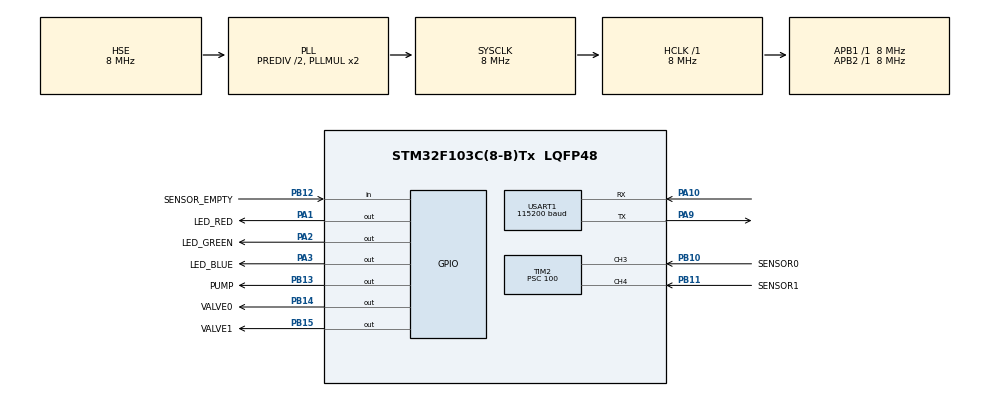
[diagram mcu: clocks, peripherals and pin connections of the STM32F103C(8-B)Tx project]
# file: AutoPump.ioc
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IWDG.Reload=1024
Mcu.Family=STM32F1
Mcu.Name=STM32F103C(8-B)Tx
Mcu.Package=LQFP48
NVIC.PriorityGroup=NVIC_PRIORITYGROUP_4
NVIC.TIM2_IRQn=true\:0\:0\:false\:false\:true\:true\:true\:true
PA1.GPIO_Label=LED_RED
PA1.GPIO_ModeDefaultOutputPP=GPIO_MODE_OUTPUT_OD
PA1.GPIO_PuPd=GPIO_NOPULL
PA1.PinState=GPIO_PIN_SET
PA1.Signal=GPIO_Output
PA10.Mode=Asynchronous
PA10.Signal=USART1_RX
PA13.Mode=Serial_Wire
PA13.Signal=SYS_JTMS-SWDIO
PA14.Mode=Serial_Wire
PA14.Signal=SYS_JTCK-SWCLK
PA2.GPIO_Label=LED_GREEN
PA2.GPIO_ModeDefaultOutputPP=GPIO_MODE_OUTPUT_OD
PA2.GPIO_PuPd=GPIO_NOPULL
PA2.PinState=GPIO_PIN_SET
PA2.Signal=GPIO_Output
PA3.GPIO_Label=LED_BLUE
PA3.GPIO_ModeDefaultOutputPP=GPIO_MODE_OUTPUT_OD
PA3.GPIO_PuPd=GPIO_NOPULL
PA3.PinState=GPIO_PIN_SET
PA3.Signal=GPIO_Output
PA9.Mode=Asynchronous
PA9.Signal=USART1_TX
PB10.GPIO_Label=SENSOR0
PB10.GPIO_PuPd=GPIO_PULLUP
PB10.Signal=S_TIM2_CH3
PB11.GPIO_Label=SENSOR1
PB11.GPIO_PuPd=GPIO_PULLUP
PB11.Signal=S_TIM2_CH4
PB12.GPIO_Label=SENSOR_EMPTY
PB12.GPIO_PuPd=GPIO_PULLUP
PB12.Signal=GPIO_Input
PB13.GPIO_Label=PUMP
PB13.GPIO_PuPd=GPIO_PULLUP
PB13.PinState=GPIO_PIN_RESET
PB13.Signal=GPIO_Output
PB14.GPIO_Label=VALVE0
PB14.GPIO_PuPd=GPIO_PULLUP
PB14.PinState=GPIO_PIN_RESET
PB14.Signal=GPIO_Output
PB15.GPIO_Label=VALVE1
PB15.GPIO_PuPd=GPIO_PULLUP
PB15.PinState=GPIO_PIN_RESET
PB15.Signal=GPIO_Output
PC14-OSC32_IN.Mode=LSE-External-Oscillator
PC14-OSC32_IN.Signal=RCC_OSC32_IN
PC15-OSC32_OUT.Mode=LSE-External-Oscillator
PC15-OSC32_OUT.Signal=RCC_OSC32_OUT
PD0-OSC_IN.Mode=HSE-External-Oscillator
PD0-OSC_IN.Signal=RCC_OSC_IN
PD1-OSC_OUT.Mode=HSE-External-Oscillator
PD1-OSC_OUT.Signal=RCC_OSC_OUT
ProjectManager.HeapSize=0x200
ProjectManager.StackSize=0x400
ProjectManager.TargetToolchain=MDK-ARM V5.32
RCC.AHBFreq_Value=8000000
RCC.APB1Freq_Value=8000000
RCC.APB1TimFreq_Value=8000000
RCC.APB2Freq_Value=8000000
RCC.APB2TimFreq_Value=8000000
RCC.HCLKFreq_Value=8000000
RCC.HSEDivPLL=RCC_HSE_PREDIV_DIV2
RCC.PLLSourceVirtual=RCC_PLLSOURCE_HSE
RCC.SYSCLKFreq_VALUE=8000000
RCC.SYSCLKSource=RCC_SYSCLKSOURCE_PLLCLK
RCC.USBFreq_Value=8000000
SH.S_TIM2_CH3.0=TIM2_CH3,Input_Capture3_from_TI3
SH.S_TIM2_CH4.0=TIM2_CH4,Input_Capture4_from_TI4
TIM2.Channel-Input_Capture3_from_TI3=TIM_CHANNEL_3
TIM2.Channel-Input_Capture4_from_TI4=TIM_CHANNEL_4
TIM2.Prescaler=100
USART1.BaudRate=115200
USART1.VirtualMode=VM_ASYNC
VP_IWDG_VS_IWDG.Mode=IWDG_Activate
VP_TIM2_VS_ClockSourceINT.Mode=Internal
board=custom

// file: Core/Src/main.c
/* USER CODE BEGIN Header */
/**
  ******************************************************************************
  * @file           : main.c
  * @brief          : Main program body
  ******************************************************************************
  * @attention
  *
  * Copyright (c) 2025 STMicroelectronics.
  * All rights reserved.
  *
  * This software is licensed under terms that can be found in the LICENSE file
  * in the root directory of this software component.
  * If no LICENSE file comes with this software, it is provided AS-IS.
  *
  ******************************************************************************
  */
/* USER CODE END Header */
#include "main.h"

/* USER CODE BEGIN Includes */
#include <stdio.h>
#include <stdbool.h>
#include <string.h>
#include <math.h>
/* USER CODE END Includes */

/* USER CODE BEGIN PTD */

typedef struct {
  uint32_t startTick;
  uint32_t targetTick;
} TimerContext;

typedef struct {
  uint32_t upPeriodMs;
  uint32_t downPeriodMs;
  double threshould;
  uint32_t prevTick;
  double accumulateValue;
  int currValue;
} FilterContext;

typedef struct {
  int sensorEmptyLevel;
  SensorLevel sensor0Level;
  SensorLevel sensor1Level;
  bool isTankEmpty;
  bool isLedRedOn;
  bool isLedGreenOn;
  bool isValve0On;
  bool isValve1On;
  bool isPumpOn;
  bool isPumpOnTimeout;
} RuntimeContext;

/* USER CODE END PTD */

/* USER CODE BEGIN PD */

#define VERSION_STR                   "1.0.3"
#define POWER_UP_DELAY                (2000)
#define VALVE_ON_LEVEL                SensorLevel0
#define VALVE_OFF_LEVEL               SensorLevel3
#define PUMP_ON_TIMEOUT_MS            (1000 * 300)
#define TANK_EMPTY_BLINK_MS           (500)
#define ERROR_BLINK_MS                (200)
#define FILTER_UP_PERIOD_MS           (200)
#define FILTER_DOWN_PERIOD_MS         (1000)
#define TANK_EMPYT_FILTER_PERIOD_MS   (5000)
#define FILTER_THRESHOULD             (0.15)

/* USER CODE END PD */

IWDG_HandleTypeDef hiwdg;

TIM_HandleTypeDef htim2;

UART_HandleTypeDef huart1;

/* USER CODE BEGIN PV */

volatile uint16_t sensor0Curr = 0;
volatile uint16_t sensor0Prev = 0;
volatile uint16_t sensor0Value = 0;
FilterContext sensor0Filter;
volatile SensorLevel sensor0Level = 0;

volatile uint16_t sensor1Curr = 0;
volatile uint16_t sensor1Prev = 0;
volatile uint16_t sensor1Value = 0;
FilterContext sensor1Filter;
volatile SensorLevel sensor1Level = 0;

FilterContext sensorEmptyFilter;

volatile RuntimeContext rtCtx;

/* USER CODE END PV */

void SystemClock_Config(void);
static void MX_GPIO_Init(void);
static void MX_IWDG_Init(void);
static void MX_USART1_UART_Init(void);
static void MX_TIM2_Init(void);

/* USER CODE BEGIN 0 */

/**
  * @brief  Retargets the C library printf function to the USART.
  * @param  None
  * @retval None
  */
int __io_putchar(int ch)
{
  HAL_UART_Transmit(&huart1, (uint8_t *)&ch, 1, 0xFFFF);
  return ch;
}
int fputc(int ch, FILE *f)
{
  HAL_UART_Transmit(&huart1, (uint8_t *)&ch, 1, 0xFFFF);
  return ch;
}

void initCycleTime(TimerContext* context, uint32_t cycleTimeMs) {
  context->startTick = HAL_GetTick();
  context->targetTick = cycleTimeMs;
}

bool isOnCycleTime(TimerContext* context) {
  uint32_t currTick = HAL_GetTick();
  uint32_t interval = currTick - context->startTick;
  if (interval > context->targetTick) {
    uint32_t tickShift = ((interval / context->targetTick) > 1) ? 0 : (interval % context->targetTick);
    context->startTick = currTick - tickShift;
    return true;
  }
  return false;
}

void initAfterTime(TimerContext* context, uint32_t timeMs) {
  context->startTick = HAL_GetTick();
  context->targetTick = timeMs;
}

bool isAfterTime(TimerContext* context) {
  uint32_t currTick = HAL_GetTick();
  uint32_t interval = currTick - context->startTick;
  return interval > context->targetTick;
}

void initSensorFilter(FilterContext* context, uint32_t upPeriodMs, uint32_t downPeriodMs, double threshould) {
  context->upPeriodMs = upPeriodMs;
  context->downPeriodMs = downPeriodMs;
  context->threshould = threshould;
  context->prevTick = HAL_GetTick();
  context->accumulateValue = 0;
  context->currValue = 0;
}

int sensorFilter(FilterContext* context, int value) {
  uint32_t currTick = HAL_GetTick();

  double interval = currTick - context->prevTick;
  double period = (value >= context->accumulateValue) ? context->upPeriodMs : context->downPeriodMs;
  double step = (interval < period) ? (interval / period) : 1.0;
  context->accumulateValue = (context->accumulateValue * (1.0 - step)) + (value * step);

  int currValue = (int) context->accumulateValue;
  if (fabs(currValue - context->accumulateValue) > context->threshould) {
    currValue += (currValue >= 0) ? 1 : -1;
  }

  context->prevTick = currTick;
  context->currValue = currValue;

  return currValue;
}

#define ledOn(color)    HAL_GPIO_WritePin(LED_##color##_GPIO_Port, LED_##color##_Pin, GPIO_PIN_RESET);
#define ledOff(color)   HAL_GPIO_WritePin(LED_##color##_GPIO_Port, LED_##color##_Pin, GPIO_PIN_SET);
#define pumpOn()        HAL_GPIO_WritePin(PUMP_GPIO_Port, PUMP_Pin, GPIO_PIN_SET);
#define pumpOff()       HAL_GPIO_WritePin(PUMP_GPIO_Port, PUMP_Pin, GPIO_PIN_RESET);
#define valve0On()      HAL_GPIO_WritePin(VALVE0_GPIO_Port, VALVE0_Pin, GPIO_PIN_SET);
#define valve0Off()     HAL_GPIO_WritePin(VALVE0_GPIO_Port, VALVE0_Pin, GPIO_PIN_RESET);
#define valve1On()      HAL_GPIO_WritePin(VALVE1_GPIO_Port, VALVE1_Pin, GPIO_PIN_SET);
#define valve1Off()     HAL_GPIO_WritePin(VALVE1_GPIO_Port, VALVE1_Pin, GPIO_PIN_RESET);

bool isSensorEmpty() {
  GPIO_PinState state = HAL_GPIO_ReadPin(SENSOR_EMPTY_GPIO_Port, SENSOR_EMPTY_Pin);
  return state == GPIO_PIN_SET;
}

SensorLevel toSensorLevel(uint32_t sensorVal) {
  if ((sensorVal >= 2800) && (sensorVal < 6000)) {
    // 4000
    return SensorLevel0;
  } else if ((sensorVal >= 1200) && (sensorVal < 2800)) {
    // 1600
    return SensorLevel1;
  } else if ((sensorVal >= 600) && (sensorVal < 1200)) {
    // 800
    return SensorLevel2;
  } else if ((sensorVal >= 300) && (sensorVal < 600)) {
    // 400
    return SensorLevel3;
  } else if ((sensorVal >= 100) && (sensorVal < 300)) {
    // 200
    return SensorLevel4;
  }
  return SensorLevelInvalid;
}

void HAL_TIM_IC_CaptureCallback(TIM_HandleTypeDef *htim) {
  if (htim == &htim2) {
    if (htim->Channel == HAL_TIM_ACTIVE_CHANNEL_3) {
      sensor0Curr = htim->Instance->CCR3;
      if (sensor0Curr != sensor0Prev) {
        sensor0Value = sensor0Curr - sensor0Prev;
        SensorLevel level = toSensorLevel(sensor0Value);
        sensor0Level = sensorFilter(&sensor0Filter, level);
      }
      sensor0Prev = sensor0Curr;
    } else if (htim->Channel == HAL_TIM_ACTIVE_CHANNEL_4) {
      sensor1Curr = htim->Instance->CCR4;
      if (sensor1Curr != sensor1Prev) {
        sensor1Value = sensor1Curr - sensor1Prev;
        SensorLevel level = toSensorLevel(sensor1Value);
        sensor1Level = sensorFilter(&sensor1Filter, level);
      }
      sensor1Prev = sensor1Curr;
    }
  }
}

void execCtrl() {
  if (rtCtx.isLedRedOn) {
    ledOn(RED);
  } else {
    ledOff(RED);
  }
  if (rtCtx.isLedGreenOn) {
    ledOn(GREEN);
  } else {
    ledOff(GREEN);
  }
  if (rtCtx.isValve0On) {
    valve0On();
  } else {
    valve0Off();
  }
  if (rtCtx.isValve1On) {
    valve1On();
  } else {
    valve1Off();
  }
  if (rtCtx.isPumpOn) {
    pumpOn();
  } else {
    pumpOff();
  }
}

void logStatus() {
  LOG("S0[%u] S1[%u] SE[%u] | V0[%u] V1[%u] Pump[%u] | R[%u] G[%u] ", rtCtx.sensor0Level, rtCtx.sensor1Level, rtCtx.sensorEmptyLevel, rtCtx.isValve0On, rtCtx.isValve1On, rtCtx.isPumpOn, rtCtx.isLedRedOn, rtCtx.isLedGreenOn);
}

/* USER CODE END 0 */

int main(void)
{

  /* USER CODE BEGIN 1 */
  initSensorFilter(&sensor0Filter, FILTER_UP_PERIOD_MS, FILTER_DOWN_PERIOD_MS, FILTER_THRESHOULD);
  initSensorFilter(&sensor1Filter, FILTER_UP_PERIOD_MS, FILTER_DOWN_PERIOD_MS, FILTER_THRESHOULD);
  initSensorFilter(&sensorEmptyFilter, TANK_EMPYT_FILTER_PERIOD_MS, TANK_EMPYT_FILTER_PERIOD_MS, FILTER_THRESHOULD);
  /* USER CODE END 1 */

  /* MCU Configuration--------------------------------------------------------*/

  /* Reset of all peripherals, Initializes the Flash interface and the Systick. */
  HAL_Init();

  /* Configure the system clock */
  SystemClock_Config();

  /* Initialize all configured peripherals */
  MX_GPIO_Init();
  MX_IWDG_Init();
  MX_USART1_UART_Init();
  MX_TIM2_Init();
  /* USER CODE BEGIN 2 */

  //HAL_TIM_Base_Start_IT(&htim2);
  HAL_TIM_IC_Start_IT(&htim2, TIM_CHANNEL_3);
  HAL_TIM_IC_Start_IT(&htim2, TIM_CHANNEL_4);

  // Init log cycle before power up delay, so log will be print at first main loop
  TimerContext logCycle;
  initCycleTime(&logCycle, 500);

  LOG("AutoPump v%s initialized!", VERSION_STR);

  // Power up delay, for sensor value to be stablized
  LOG("Power up delay start...");
  ledOn(BLUE);
  TimerContext powerUpDelay;
  initAfterTime(&powerUpDelay, POWER_UP_DELAY);
  while (!isAfterTime(&powerUpDelay)) {
    sensorFilter(&sensorEmptyFilter, isSensorEmpty() ? 1 : 0);
    HAL_IWDG_Refresh(&hiwdg);
  }
  ledOff(BLUE);
  LOG("Power up delay end");

  rtCtx.isTankEmpty = false;
  rtCtx.isLedRedOn = false;
  rtCtx.isLedGreenOn = false;
  rtCtx.isValve0On = false;
  rtCtx.isValve1On = false;
  rtCtx.isPumpOn = false;
  rtCtx.isPumpOnTimeout = false;
  execCtrl();
  LOG("Initialize all controls");

  /* USER CODE END 2 */

  /* Infinite loop */
  /* USER CODE BEGIN WHILE */
  TimerContext pumpOnTimeout;
  TimerContext tankEmptyBlinkCycle;
  TimerContext errorBlinkCycle;

  LOG("AutoPump v%s main loop start...", VERSION_STR);

  while (1)
  {
    /* USER CODE END WHILE */

    /* USER CODE BEGIN 3 */
    // Save previous status to detect transition
    bool isPrevTankEmpty = rtCtx.isTankEmpty;
    bool isPrevPumpOn = rtCtx.isPumpOn;

    // Get sensor values
    __disable_irq();
    rtCtx.sensorEmptyLevel = sensorFilter(&sensorEmptyFilter, isSensorEmpty() ? 1 : 0);
    rtCtx.sensor0Level = sensor0Level;
    rtCtx.sensor1Level = sensor1Level;
    __enable_irq();

    rtCtx.isTankEmpty = rtCtx.sensorEmptyLevel > 0;
    // For debug purpose
    //isTankEmpty = !isTankEmpty;

    if (rtCtx.isPumpOnTimeout) {
      if (isOnCycleTime(&errorBlinkCycle)) {
        rtCtx.isLedRedOn = !rtCtx.isLedRedOn;
      }
      rtCtx.isLedGreenOn = false;
      rtCtx.isValve0On = false;
      rtCtx.isValve1On = false;
      rtCtx.isPumpOn = false;

      if ((rtCtx.sensor0Level > VALVE_ON_LEVEL) || (rtCtx.sensor1Level > VALVE_ON_LEVEL)) {
        rtCtx.isPumpOnTimeout = false;
        rtCtx.isLedRedOn = false;
      }
    } else if (rtCtx.isTankEmpty) {
      if (!isPrevTankEmpty) {
        initCycleTime(&tankEmptyBlinkCycle, TANK_EMPTY_BLINK_MS);
        rtCtx.isLedRedOn = true;
      } else if (isOnCycleTime(&tankEmptyBlinkCycle)) {
        rtCtx.isLedRedOn = !rtCtx.isLedRedOn;
      }
      rtCtx.isLedGreenOn = true;
      rtCtx.isValve0On = false;
      rtCtx.isValve1On = false;
      rtCtx.isPumpOn = false;
    } else {
      if (rtCtx.sensor0Level <= VALVE_ON_LEVEL) {
        rtCtx.isValve0On = true;
        // Also open Valve1 if Sensor1 is not full
        if (rtCtx.sensor1Level < VALVE_OFF_LEVEL) {
          rtCtx.isValve1On = true;
        }
      }

      if (rtCtx.sensor1Level <= VALVE_ON_LEVEL) {
        rtCtx.isValve1On = true;
        // Also open Valve0 if Sensor0 is not full
        if (rtCtx.sensor0Level < VALVE_OFF_LEVEL) {
          rtCtx.isValve0On = true;
        }
      }

      if (rtCtx.sensor0Level >= VALVE_OFF_LEVEL) {
        rtCtx.isValve0On = false;
      }
      if (rtCtx.sensor1Level >= VALVE_OFF_LEVEL) {
        rtCtx.isValve1On = false;
      }

      rtCtx.isPumpOn = rtCtx.isValve0On || rtCtx.isValve1On;
      if (rtCtx.isPumpOn) {
        // Check previous pump on state
        if (!isPrevPumpOn) {
          // From pump off to pump on, setup timeout
          initAfterTime(&pumpOnTimeout, PUMP_ON_TIMEOUT_MS);
        } else if (isAfterTime(&pumpOnTimeout)) {
          // Pump on timeout, set error flag to keep all valves & pump off
          rtCtx.isPumpOnTimeout = true;
          rtCtx.isLedRedOn = true;
          initCycleTime(&errorBlinkCycle, ERROR_BLINK_MS);

          LOG("[Error] Pump on timeout[%ums]!", PUMP_ON_TIMEOUT_MS);
          LOG("    1. Check there is no leakage in all tubes & humidifier tank.");
          LOG("    2. Check level sensor is correct in humidifier tank.");
          LOG("    3. Check empty sensor is correct in water tank.");
          LOG("Then restart the controller!");
          continue;
        }
      }

      rtCtx.isLedRedOn = rtCtx.isPumpOn;
      rtCtx.isLedGreenOn = true;
    }

    execCtrl();

    if (isOnCycleTime(&logCycle)) {
      logStatus();
    }

    HAL_IWDG_Refresh(&hiwdg);
  }
  /* USER CODE END 3 */
}

void SystemClock_Config(void)
{
  RCC_OscInitTypeDef RCC_OscInitStruct = {0};
  RCC_ClkInitTypeDef RCC_ClkInitStruct = {0};

  /** Initializes the RCC Oscillators according to the specified parameters
  * in the RCC_OscInitTypeDef structure.
  */
  RCC_OscInitStruct.OscillatorType = RCC_OSCILLATORTYPE_LSI|RCC_OSCILLATORTYPE_HSE;
  RCC_OscInitStruct.HSEState = RCC_HSE_ON;
  RCC_OscInitStruct.HSEPredivValue = RCC_HSE_PREDIV_DIV2;
  RCC_OscInitStruct.HSIState = RCC_HSI_ON;
  RCC_OscInitStruct.LSIState = RCC_LSI_ON;
  RCC_OscInitStruct.PLL.PLLState = RCC_PLL_ON;
  RCC_OscInitStruct.PLL.PLLSource = RCC_PLLSOURCE_HSE;
  RCC_OscInitStruct.PLL.PLLMUL = RCC_PLL_MUL2;
  if (HAL_RCC_OscConfig(&RCC_OscInitStruct) != HAL_OK)
  {
    Error_Handler();
  }

  /** Initializes the CPU, AHB and APB buses clocks
  */
  RCC_ClkInitStruct.ClockType = RCC_CLOCKTYPE_HCLK|RCC_CLOCKTYPE_SYSCLK
                              |RCC_CLOCKTYPE_PCLK1|RCC_CLOCKTYPE_PCLK2;
  RCC_ClkInitStruct.SYSCLKSource = RCC_SYSCLKSOURCE_PLLCLK;
  RCC_ClkInitStruct.AHBCLKDivider = RCC_SYSCLK_DIV1;
  RCC_ClkInitStruct.APB1CLKDivider = RCC_HCLK_DIV1;
  RCC_ClkInitStruct.APB2CLKDivider = RCC_HCLK_DIV1;

  if (HAL_RCC_ClockConfig(&RCC_ClkInitStruct, FLASH_LATENCY_0) != HAL_OK)
  {
    Error_Handler();
  }
}

static void MX_IWDG_Init(void)
{

  hiwdg.Instance = IWDG;
  hiwdg.Init.Prescaler = IWDG_PRESCALER_4;
  hiwdg.Init.Reload = 1024;
  if (HAL_IWDG_Init(&hiwdg) != HAL_OK)
  {
    Error_Handler();
  }

}

static void MX_TIM2_Init(void)
{

  TIM_ClockConfigTypeDef sClockSourceConfig = {0};
  TIM_MasterConfigTypeDef sMasterConfig = {0};
  TIM_IC_InitTypeDef sConfigIC = {0};

  htim2.Instance = TIM2;
  htim2.Init.Prescaler = 100;
  htim2.Init.CounterMode = TIM_COUNTERMODE_UP;
  htim2.Init.Period = 65535;
  htim2.Init.ClockDivision = TIM_CLOCKDIVISION_DIV1;
  htim2.Init.AutoReloadPreload = TIM_AUTORELOAD_PRELOAD_DISABLE;
  if (HAL_TIM_Base_Init(&htim2) != HAL_OK)
  {
    Error_Handler();
  }
  sClockSourceConfig.ClockSource = TIM_CLOCKSOURCE_INTERNAL;
  if (HAL_TIM_ConfigClockSource(&htim2, &sClockSourceConfig) != HAL_OK)
  {
    Error_Handler();
  }
  if (HAL_TIM_IC_Init(&htim2) != HAL_OK)
  {
    Error_Handler();
  }
  sMasterConfig.MasterOutputTrigger = TIM_TRGO_RESET;
  sMasterConfig.MasterSlaveMode = TIM_MASTERSLAVEMODE_DISABLE;
  if (HAL_TIMEx_MasterConfigSynchronization(&htim2, &sMasterConfig) != HAL_OK)
  {
    Error_Handler();
  }
  sConfigIC.ICPolarity = TIM_INPUTCHANNELPOLARITY_RISING;
  sConfigIC.ICSelection = TIM_ICSELECTION_DIRECTTI;
  sConfigIC.ICPrescaler = TIM_ICPSC_DIV1;
  sConfigIC.ICFilter = 0;
  if (HAL_TIM_IC_ConfigChannel(&htim2, &sConfigIC, TIM_CHANNEL_3) != HAL_OK)
  {
    Error_Handler();
  }
  if (HAL_TIM_IC_ConfigChannel(&htim2, &sConfigIC, TIM_CHANNEL_4) != HAL_OK)
  {
    Error_Handler();
  }

}

static void MX_USART1_UART_Init(void)
{

  huart1.Instance = USART1;
  huart1.Init.BaudRate = 115200;
  huart1.Init.WordLength = UART_WORDLENGTH_8B;
  huart1.Init.StopBits = UART_STOPBITS_1;
  huart1.Init.Parity = UART_PARITY_NONE;
  huart1.Init.Mode = UART_MODE_TX_RX;
  huart1.Init.HwFlowCtl = UART_HWCONTROL_NONE;
  huart1.Init.OverSampling = UART_OVERSAMPLING_16;
  if (HAL_UART_Init(&huart1) != HAL_OK)
  {
    Error_Handler();
  }

}

static void MX_GPIO_Init(void)
{
  GPIO_InitTypeDef GPIO_InitStruct = {0};

  /* GPIO Ports Clock Enable */
  __HAL_RCC_GPIOC_CLK_ENABLE();
  __HAL_RCC_GPIOD_CLK_ENABLE();
  __HAL_RCC_GPIOA_CLK_ENABLE();
  __HAL_RCC_GPIOB_CLK_ENABLE();

  /*Configure GPIO pin Output Level */
  HAL_GPIO_WritePin(GPIOA, LED_RED_Pin|LED_GREEN_Pin|LED_BLUE_Pin, GPIO_PIN_SET);

  /*Configure GPIO pin Output Level */
  HAL_GPIO_WritePin(GPIOB, PUMP_Pin|VALVE0_Pin|VALVE1_Pin, GPIO_PIN_RESET);

  /*Configure GPIO pins : LED_RED_Pin LED_GREEN_Pin LED_BLUE_Pin */
  GPIO_InitStruct.Pin = LED_RED_Pin|LED_GREEN_Pin|LED_BLUE_Pin;
  GPIO_InitStruct.Mode = GPIO_MODE_OUTPUT_OD;
  GPIO_InitStruct.Pull = GPIO_NOPULL;
  GPIO_InitStruct.Speed = GPIO_SPEED_FREQ_LOW;
  HAL_GPIO_Init(GPIOA, &GPIO_InitStruct);

  /*Configure GPIO pin : SENSOR_EMPTY_Pin */
  GPIO_InitStruct.Pin = SENSOR_EMPTY_Pin;
  GPIO_InitStruct.Mode = GPIO_MODE_INPUT;
  GPIO_InitStruct.Pull = GPIO_PULLUP;
  HAL_GPIO_Init(SENSOR_EMPTY_GPIO_Port, &GPIO_InitStruct);

  /*Configure GPIO pins : PUMP_Pin VALVE0_Pin VALVE1_Pin */
  GPIO_InitStruct.Pin = PUMP_Pin|VALVE0_Pin|VALVE1_Pin;
  GPIO_InitStruct.Mode = GPIO_MODE_OUTPUT_PP;
  GPIO_InitStruct.Pull = GPIO_PULLUP;
  GPIO_InitStruct.Speed = GPIO_SPEED_FREQ_LOW;
  HAL_GPIO_Init(GPIOB, &GPIO_InitStruct);

}

void Error_Handler(void)
{
  /* USER CODE BEGIN Error_Handler_Debug */
  /* User can add his own implementation to report the HAL error return state */
  __disable_irq();

  rtCtx.isLedRedOn = true;
  rtCtx.isLedGreenOn = false;
  rtCtx.isValve0On = false;
  rtCtx.isValve1On = false;
  rtCtx.isPumpOn = false;
  execCtrl();
  logStatus();

  while (1)
  {
  }
  /* USER CODE END Error_Handler_Debug */
}
